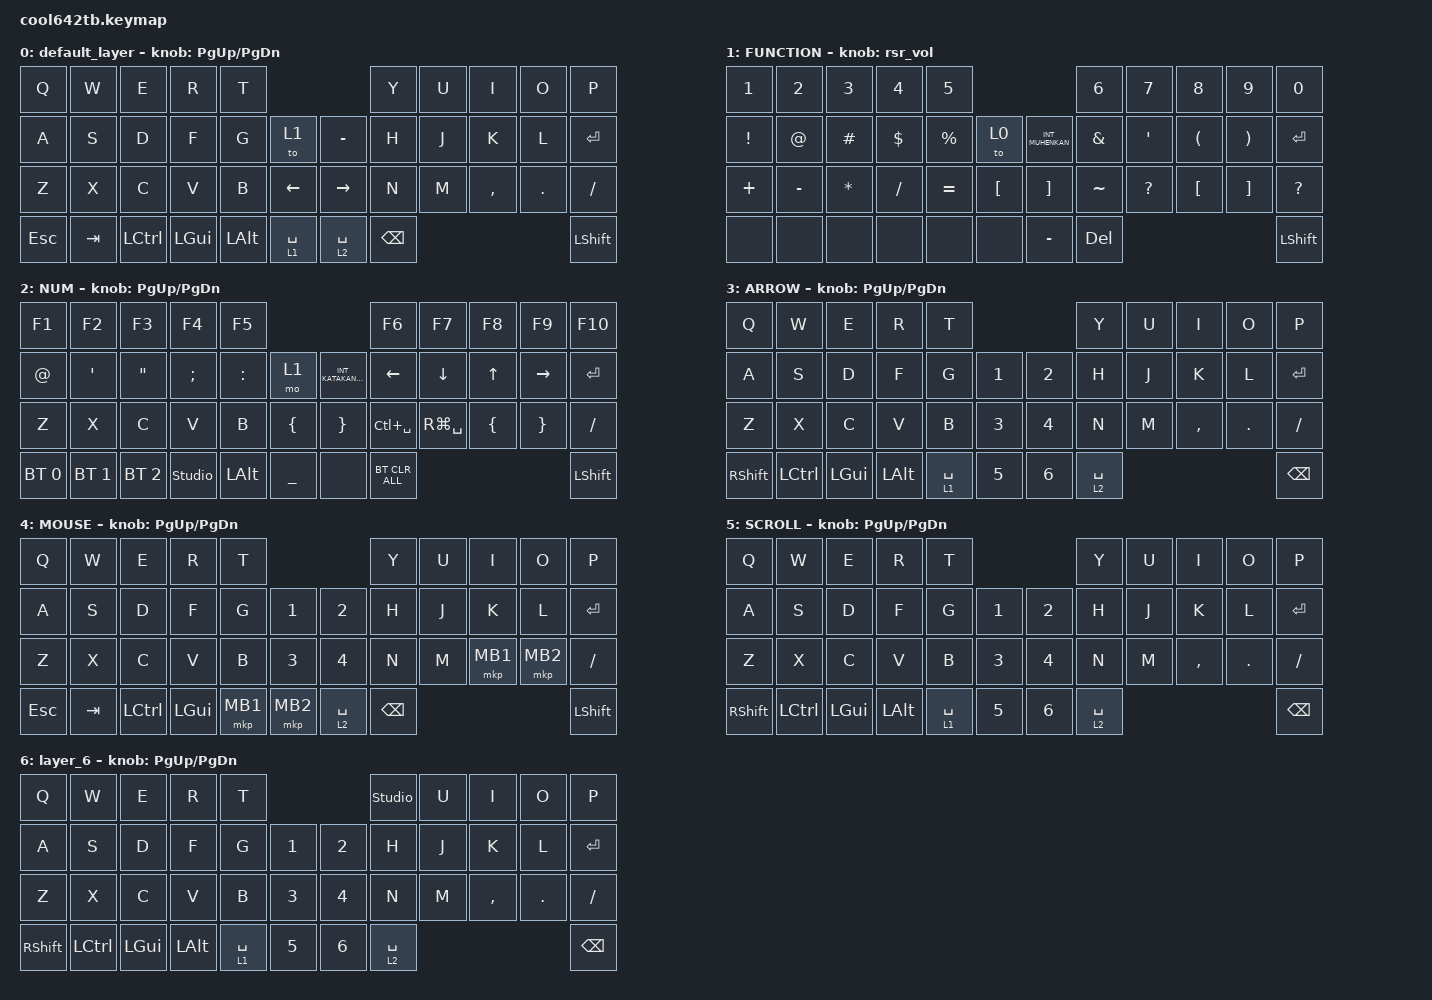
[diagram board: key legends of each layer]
#include <input/processors.dtsi>
#include <input/processors/runtime-input-processor.dtsi>
#include <behaviors/runtime-sensor-rotate.dtsi>
#include <behaviors/battery_history_request.dtsi>
#include <behaviors.dtsi>
#include <dt-bindings/zmk/bt.h>
#include <dt-bindings/zmk/keys.h>
#include <dt-bindings/zmk/pointing.h>

#define ZMK_MOUSE_DEFAULT_SCRL_VAL 100
#define MOUSE 4
#define SCROLL 5
#define NUM 6

&mt {
    flavor = "balanced";
    quick-tap-ms = <0>;
};

/ {
    combos {
        compatible = "zmk,combos";

        comb1 {
            bindings = <&kp TAB>;
            key-positions = <11 10>;
        };

        comb2 {
            bindings = <&kp LS(ESCAPE)>;
            key-positions = <0 1>;
        };

        comb5 {
            bindings = <&bt BT_CLR_ALL>;
            key-positions = <9 8>;
            timeout-ms = <0>;
            layers = <2>;
        };

        en {
            bindings = <&kp LANG2>;
            key-positions = <12 13>;
        };

        ja {
            bindings = <&kp LANG1>;
            key-positions = <18 19>;
        };

        wl {
            bindings = <&kp LC(LG(LEFT_ARROW))>;
            key-positions = <24 25>;
        };

        wr {
            bindings = <&kp LC(LG(RIGHT))>;
            key-positions = <30 31>;
        };
    };

    macros {
        to_layer_0: to_layer_0 {
            compatible = "zmk,behavior-macro-one-param";
            #binding-cells = <1>;
            bindings = <&to 0 &macro_param_1to1 &kp MACRO_PLACEHOLDER>;
            label = "TO_LAYER_0";
        };
    };

    behaviors {
        lt_to_layer_0: lt_to_layer_0 {
            compatible = "zmk,behavior-hold-tap";
            label = "LAYER_TAP_TO_0";
            bindings = <&mo>, <&to_layer_0>;

            #binding-cells = <2>;
            tapping-term-ms = <200>;
        };

        scroll_up_down: behavior_sensor_rotate_mouse_wheel_up_down {
            compatible = "zmk,behavior-sensor-rotate";
            #sensor-binding-cells = <0>;
            bindings = <&msc SCRL_UP>, <&msc SCRL_DOWN>;

            tap-ms = <20>;
        };

        rsr_vol: rsr_vol {
            compatible = "zmk,behavior-runtime-sensor-rotate";
            #sensor-binding-cells = <0>;
            tap-ms = <20>;
            cw-binding = <&kp C_VOL_DN>;
            ccw-binding = <&kp C_VOL_UP>;
        };

        rsr_pg: rsr_pg {
            compatible = "zmk,behavior-runtime-sensor-rotate";
            #sensor-binding-cells = <0>;
            tap-ms = <20>;
            cw-binding = <&kp PG_UP>;
            ccw-binding = <&kp PAGE_DOWN>;
        };
    };

    // エンコーダー：キー

    rot_kp: sensor_rotate_kp {
        compatible = "zmk,behavior-sensor-rotate-var";
        #sensor-binding-cells = <2>;
        bindings = <&kp>, <&kp>;
    };

    // エンコーダー：マウススクロール 

    rot_msc: sensor_rotate_msc {
        compatible = "zmk,behavior-sensor-rotate-var";
        #sensor-binding-cells = <2>;
        tap-ms = <20>;
        bindings = <&msc>, <&msc>;
    };

    // エンコーダー：マウススクロール(MOVE_Y)

    scroll_move_y: sensor_rotate_msc_for_move_y {
        compatible = "zmk,behavior-sensor-rotate";
        #sensor-binding-cells = <0>;
        bindings = <&msc MOVE_Y(20)>, <&msc MOVE_Y(-20)>;

        // tap-ms下限メモ Yの値で可変: Y(15) <81>, Y(20) <65>, Y(25) <49>

        tap-ms = <65>;
    };

    // エンコーダー：マウススクロール(MOVE_X)

    scroll_move_x: sensor_rotate_msc_for_move_x {
        compatible = "zmk,behavior-sensor-rotate";
        #sensor-binding-cells = <0>;
        bindings = <&msc MOVE_X(20)>, <&msc MOVE_X(-20)>;

        // tap-ms下限メモ Xの値で可変: X(15) <81>, X(20) <65>, X(25) <49>

        tap-ms = <65>;
    };

    keymap {
        compatible = "zmk,keymap";

        default_layer {
            bindings = <
&kp Q       &kp W    &kp E             &kp R         &kp T                                      &kp Y          &kp U  &kp I      &kp O       &kp P
&kp A       &kp S    &kp D             &kp F         &kp G         &to 1           &kp MINUS    &kp H          &kp J  &kp K      &kp L       &kp ENTER
&kp Z       &kp X    &kp C             &kp V         &kp B         &kp LEFT_ARROW  &kp RIGHT    &kp N          &kp M  &kp COMMA  &kp PERIOD  &kp SLASH
&kp ESCAPE  &kp TAB  &kp LEFT_CONTROL  &kp LEFT_GUI  &kp LEFT_ALT  &lt 1 SPACE     &lt 2 SPACE  &kp BACKSPACE                                &kp LEFT_SHIFT
            >;

            sensor-bindings = <&inc_dec_kp PG_UP PAGE_DOWN>;
        };

        FUNCTION {
            bindings = <
&kp N1           &kp N2       &kp N3        &kp N4      &kp N5                                            &kp N6         &kp N7        &kp N8                &kp N9                 &kp N0
&kp EXCLAMATION  &kp AT_SIGN  &kp HASH      &kp DOLLAR  &kp PERCENT  &to 0             &kp INT_MUHENKAN   &kp AMPERSAND  &kp SQT       &kp LEFT_PARENTHESIS  &kp RIGHT_PARENTHESIS  &kp ENTER
&kp PLUS         &kp MINUS    &kp ASTERISK  &kp SLASH   &kp EQUAL    &kp LEFT_BRACKET  &kp RIGHT_BRACKET  &kp TILDE      &kp QUESTION  &kp LEFT_BRACKET      &kp RIGHT_BRACKET      &kp QUESTION
&none            &none        &none         &none       &none        &none             &kp MINUS          &kp DEL                                                                   &kp LEFT_SHIFT
            >;

            sensor-bindings = <&rsr_vol>;
        };

        NUM {
            bindings = <
&kp F1        &kp F2        &kp F3             &kp F4          &kp F5                                                  &kp F6          &kp F7          &kp F8          &kp F9           &kp F10
&kp AT_SIGN   &kp SQT       &kp DOUBLE_QUOTES  &kp SEMICOLON   &kp COLON     &mo 1           &kp INT_KATAKANAHIRAGANA  &kp LEFT        &kp DOWN_ARROW  &kp UP_ARROW    &kp RIGHT        &kp ENTER
&kp Z         &kp X         &kp C              &kp V           &kp B         &kp LEFT_BRACE  &kp RIGHT_BRACE           &kp LC(SPACE)   &kp RG(SPACE)   &kp LEFT_BRACE  &kp RIGHT_BRACE  &kp SLASH
&bt BT_SEL 0  &bt BT_SEL 1  &bt BT_SEL 2       &studio_unlock  &kp LEFT_ALT  &kp UNDERSCORE  &none                     &bt BT_CLR_ALL                                                   &kp LEFT_SHIFT
            >;

            sensor-bindings = <&inc_dec_kp PG_UP PAGE_DOWN>;
        };

        ARROW {
            bindings = <
&kp Q       &kp W      &kp E     &kp R     &kp T                        &kp Y        &kp U  &kp I      &kp O       &kp P
&kp A       &kp S      &kp D     &kp F     &kp G        &kp N1  &kp N2  &kp H        &kp J  &kp K      &kp L       &kp ENTER
&kp Z       &kp X      &kp C     &kp V     &kp B        &kp N3  &kp N4  &kp N        &kp M  &kp COMMA  &kp PERIOD  &kp SLASH
&kp RSHIFT  &kp LCTRL  &kp LGUI  &kp LALT  &lt 1 SPACE  &kp N5  &kp N6  &lt 2 SPACE                                &kp BSPC
            >;

            sensor-bindings = <&inc_dec_kp PG_UP PAGE_DOWN>;
        };

        MOUSE {
            bindings = <
&kp Q       &kp W    &kp E             &kp R         &kp T                            &kp Y          &kp U  &kp I     &kp O     &kp P
&kp A       &kp S    &kp D             &kp F         &kp G     &kp N1    &kp N2       &kp H          &kp J  &kp K     &kp L     &kp ENTER
&kp Z       &kp X    &kp C             &kp V         &kp B     &kp N3    &kp N4       &kp N          &kp M  &mkp MB1  &mkp MB2  &kp SLASH
&kp ESCAPE  &kp TAB  &kp LEFT_CONTROL  &kp LEFT_GUI  &mkp MB1  &mkp MB2  &lt 2 SPACE  &kp BACKSPACE                             &kp LEFT_SHIFT
            >;

            sensor-bindings = <&inc_dec_kp PG_UP PAGE_DOWN>;
        };

        SCROLL {
            bindings = <
&kp Q       &kp W      &kp E     &kp R     &kp T                        &kp Y        &kp U  &kp I      &kp O       &kp P
&kp A       &kp S      &kp D     &kp F     &kp G        &kp N1  &kp N2  &kp H        &kp J  &kp K      &kp L       &kp ENTER
&kp Z       &kp X      &kp C     &kp V     &kp B        &kp N3  &kp N4  &kp N        &kp M  &kp COMMA  &kp PERIOD  &kp SLASH
&kp RSHIFT  &kp LCTRL  &kp LGUI  &kp LALT  &lt 1 SPACE  &kp N5  &kp N6  &lt 2 SPACE                                &kp BSPC
            >;

            sensor-bindings = <&inc_dec_kp PG_UP PAGE_DOWN>;
        };

        layer_6 {
            bindings = <
&kp Q       &kp W      &kp E     &kp R     &kp T                        &studio_unlock  &kp U  &kp I      &kp O       &kp P
&kp A       &kp S      &kp D     &kp F     &kp G        &kp N1  &kp N2  &kp H           &kp J  &kp K      &kp L       &kp ENTER
&kp Z       &kp X      &kp C     &kp V     &kp B        &kp N3  &kp N4  &kp N           &kp M  &kp COMMA  &kp PERIOD  &kp SLASH
&kp RSHIFT  &kp LCTRL  &kp LGUI  &kp LALT  &lt 1 SPACE  &kp N5  &kp N6  &lt 2 SPACE                                &kp BSPC
            >;

            sensor-bindings = <&inc_dec_kp PG_UP PAGE_DOWN>;
        };
    };
};
